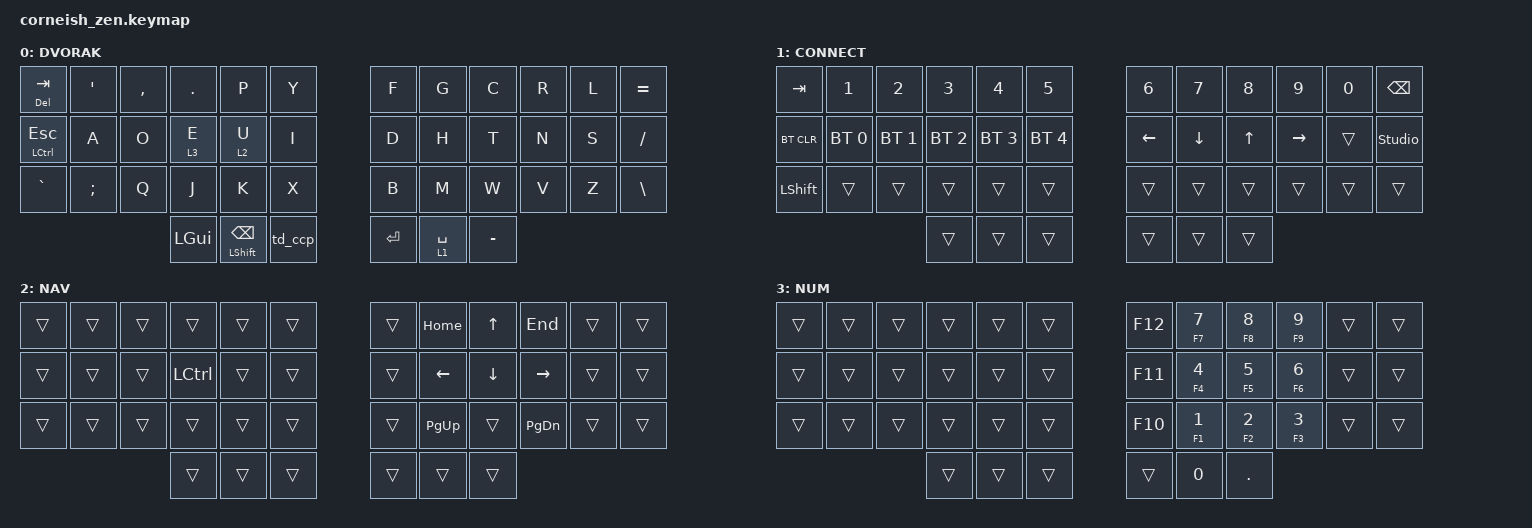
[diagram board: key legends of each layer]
#include <behaviors.dtsi>
#include <dt-bindings/zmk/keys.h>
#include <dt-bindings/zmk/bt.h>
#include "custom-behaviors.dtsi"

/ {
    chosen {
        zmk,physical-layout = &foostan_corne_6col_layout;
        // zmk,physical-layout = &foostan_corne_5col_layout;
    };
};

/ {
    keymap {
        compatible = "zmk,keymap";

        default_layer {
            display-name = "DVORAK";
// --------------------------------------------------------------------------------
// |  DEL/TAB   |  "  |  <  |  >  |  P  |  Y  |   |  F  |  G   |  C  |  R  |  L  |  +   |
// |  CTRL(ESC) |  A  |  O  |  E  |  U  |  I  |   |  D  |  H   |  T  |  N  |  S  |  ?   |
// |  ~/`       |  ;  |  Q  |  J  |  K  |  X  |   |  B  |  M   |  W  |  V  |  Z  |  \   |
//            | GUI | SHFT(BSP) | CPY/PST/CUT |   | ENT | LAY1(SPC)  |  -  |
            bindings = <
&mt DEL TAB     &kp SQT   &kp COMMA &kp DOT   &kp P   &kp Y     &kp F &kp G  &kp C     &kp R   &kp L    &kp EQUAL
&mt LCTRL ESC   &kp A     &kp O     &lt 3 E   &lt 2 U &kp I     &kp D &kp H  &kp T     &kp N   &kp S    &kp SLASH
&kp GRAVE       &kp SEMI  &kp Q     &kp J     &kp K   &kp X     &kp B &kp M  &kp W     &kp V   &kp Z    &kp BSLH
            &kp LGUI &mt LSHFT BSPC &td_ccp          &kp RET &lt 1 SPACE &kp MINUS
            >;
        };

        connection_layer {
            display-name = "CONNECT";
// -----------------------------------------------------------------------------------------
// |  TAB |  1  |  2  |  3  |  4  |  5  |   |  6  |  7  |  8  |  9  |  0  | BSPC |
// | BTCLR| BT1 | BT2 | BT3 | BT4 | BT5 |   | LFT | DWN |  UP | RGT |     |Studio|
// | SHFT |     |     |     |     |     |   |     |     |     |     |     |      |
//                    | GUI |     | SPC |   | ENT |     | ALT |
            bindings = <
&kp TAB    &kp N1       &kp N2       &kp N3       &kp N4       &kp N5         &kp N6   &kp N7   &kp N8 &kp N9    &kp N0 &kp BSPC
&bt BT_CLR &bt BT_SEL 0 &bt BT_SEL 1 &bt BT_SEL 2 &bt BT_SEL 3 &bt BT_SEL 4   &kp LEFT &kp DOWN &kp UP &kp RIGHT &trans &studio_unlock
&kp LSHFT  &trans       &trans       &trans       &trans       &trans         &trans   &trans   &trans &trans    &trans &trans
                                     &trans     &trans       &trans      &trans  &trans   &trans
            >;
        };

        nav_layer {
            display-name = "NAV";
// -----------------------------------------------------------------------------------------
// |    |    |    |        |    |    |        |    |  HOME  |   UP   |   END   |    |    |
// |    |    |    |  CTRL  |    |    |        |    |  LEFT  |  DOWN  |  RIGHT  |    |    |
// |    |    |    |        |    |    |        |    |  PGUP  |        |  PGDWN  |    |    |
//                    |     |     |     |   |     |     |     |
            bindings = <
&trans  &trans   &trans &trans      &trans   &trans      &trans  &kp HOME   &kp UP    &kp END    &trans   &trans
&trans  &trans   &trans &kp LCTRL   &trans   &trans      &trans  &kp LEFT   &kp DOWN  &kp RIGHT  &trans   &trans
&trans  &trans   &trans &trans      &trans   &trans      &trans  &kp PG_UP  &trans    &kp PG_DN  &trans   &trans
                        &trans      &trans   &trans      &trans  &trans   &trans
            >;
        };

        number_layer {
            display-name = "NUM";
// -----------------------------------------------------------------------------------------
// |    |    |    |    |    |    |        |  F12  |  7  |  8  |  9  |    |    |
// |    |    |    |    |    |    |        |  F11  |  4  |  5  |  6  |    |    |
// |    |    |    |    |    |    |        |  F10  |  1  |  2  |  3  |    |    |
//                |     |     |    |   |    |  0  |  .  |
            bindings = <
&trans  &trans   &trans &trans   &trans   &trans      &kp F12  &mt F7 N7  &mt F8 N8  &mt F9 N9  &trans  &trans
&trans  &trans   &trans &trans   &trans   &trans      &kp F11  &mt F4 N4  &mt F5 N5  &mt F6 N6  &trans  &trans
&trans  &trans   &trans &trans   &trans   &trans      &kp F10  &mt F1 N1  &mt F2 N2  &mt F3 N3  &trans  &trans
                        &trans   &trans   &trans      &trans   &kp N0     &kp DOT
            >;
        };
    };
};
